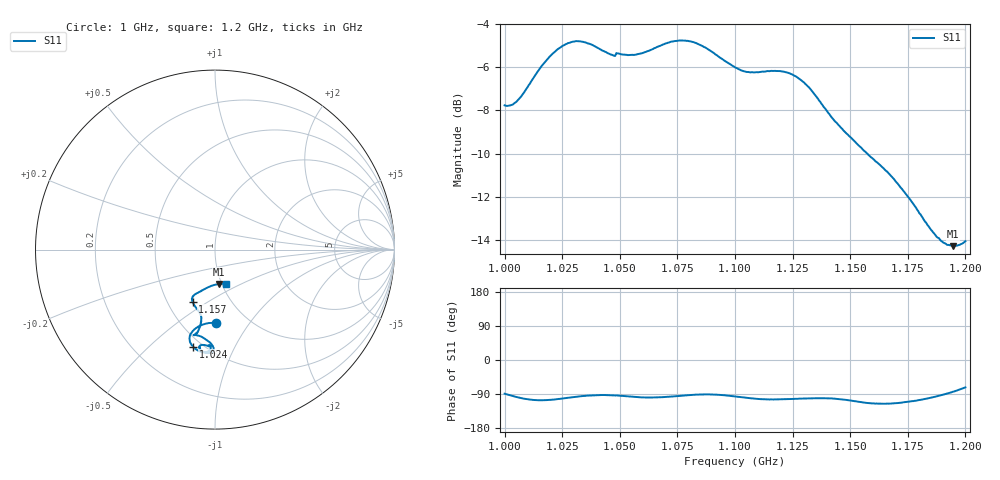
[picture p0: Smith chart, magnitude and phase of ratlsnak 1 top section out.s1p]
! NanoVNA-App
! Date: 2026-05-22 22:07:20
! Start: 1GHz Stop: 1.2GHz Points: 401
! S-Parameter data: F S11
# Hz S RI R 50
!  Frequency  S11_Real  S11_Imag
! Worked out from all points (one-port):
!   401 points, 1 GHz to 1.2 GHz, reference 50 ohm
!   lowest |S11| = -14.3 dB at 1.194 GHz (marker M1), VSWR 1.48, Z = 48.3 - j19.3 ohm
!   |S11| at or under -10 dB: 1.157 GHz to end of sweep
!   S11 on the Smith chart (normalised r, x): 1 GHz: 0.72, -0.71; 1.024 GHz: 0.45, -0.70; 1.157 GHz: 0.67, -0.43; 1.2 GHz: 1.05, -0.41
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1e9  0.00792 -0.4091
1.0055e9  -0.0587 -0.4151
1.013e9  -0.1289 -0.4599
1.018e9  -0.1419 -0.4995
1.0235e9  -0.1222 -0.54
1.025e9  -0.1128 -0.5495
1.0315e9  -0.0681 -0.5718
1.039e9  -0.0288 -0.5604
1.044e9  -0.0244 -0.543
1.05e9  -0.0398 -0.5369
1.0625e9  -0.087 -0.5399
1.0685e9  -0.0794 -0.5593
1.075e9  -0.0528 -0.5747
1.0825e9  -0.0166 -0.5712
1.088e9  -0.00785 -0.5526
1.0945e9  -0.0227 -0.5229
1.1e9  -0.0547 -0.4979
1.1125e9  -0.1151 -0.4757
1.125e9  -0.1075 -0.4697
1.132e9  -0.089 -0.442
1.1395e9  -0.0769 -0.3923
1.15e9  -0.1011 -0.3307
1.157e9  -0.1251 -0.2921
1.1655e9  -0.1239 -0.2609
1.175e9  -0.087 -0.2364
1.187e9  -0.024 -0.2036
1.1945e9  0.0204 -0.1922
1.2e9  0.0605 -0.189
